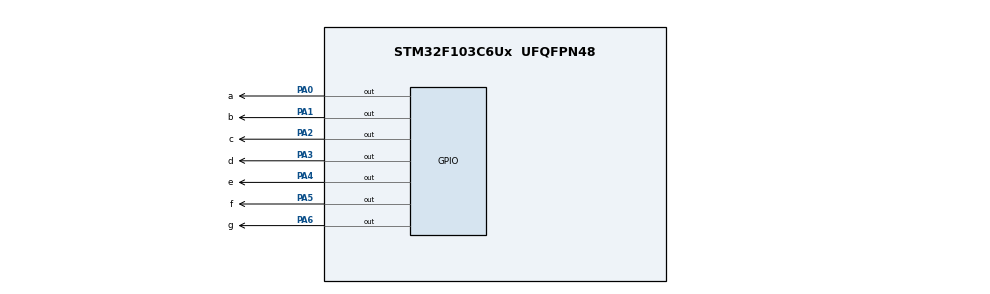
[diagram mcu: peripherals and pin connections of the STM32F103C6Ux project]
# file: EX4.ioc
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Mcu.Family=STM32F1
Mcu.Name=STM32F103C6Ux
Mcu.Package=UFQFPN48
NVIC.PriorityGroup=NVIC_PRIORITYGROUP_4
PA0-WKUP.GPIO_Label=a
PA0-WKUP.Signal=GPIO_Output
PA1.GPIO_Label=b
PA1.Signal=GPIO_Output
PA2.GPIO_Label=c
PA2.Signal=GPIO_Output
PA3.GPIO_Label=d
PA3.Signal=GPIO_Output
PA4.GPIO_Label=e
PA4.Signal=GPIO_Output
PA5.GPIO_Label=f
PA5.Signal=GPIO_Output
PA6.GPIO_Label=g
PA6.Signal=GPIO_Output
ProjectManager.HeapSize=0x200
ProjectManager.StackSize=0x400
ProjectManager.TargetToolchain=STM32CubeIDE
RCC.APB1Freq_Value=8000000
RCC.APB2Freq_Value=8000000
VP_SYS_VS_ND.Mode=No_Debug
board=custom

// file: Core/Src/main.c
/* USER CODE BEGIN Header */
/**
  ******************************************************************************
  * @file           : main.c
  * @brief          : Main program body
  ******************************************************************************
  * @attention
  *
  * <h2><center>&copy; Copyright (c) 2022 STMicroelectronics.
  * All rights reserved.</center></h2>
  *
  * This software component is licensed by ST under BSD 3-Clause license,
  * the "License"; You may not use this file except in compliance with the
  * License. You may obtain a copy of the License at:
  *                        opensource.org/licenses/BSD-3-Clause
  *
  ******************************************************************************
  */
/* USER CODE END Header */
#include "main.h"

void SystemClock_Config(void);
static void MX_GPIO_Init(void);

/* USER CODE BEGIN 0 */
void display7SEG(int num){
	HAL_GPIO_WritePin (GPIOA,a_Pin|b_Pin|c_Pin|d_Pin|e_Pin|f_Pin|g_Pin, GPIO_PIN_SET ) ;
	switch(num){
	case 0:
		HAL_GPIO_TogglePin (GPIOA,a_Pin|b_Pin|c_Pin|d_Pin|e_Pin|f_Pin) ;
		break;
	case 1:
		HAL_GPIO_TogglePin (GPIOA ,b_Pin|c_Pin ) ;
		break;
	case 2:
		HAL_GPIO_TogglePin (GPIOA,a_Pin|b_Pin|g_Pin|d_Pin|e_Pin) ;
		break;
	case 3:
		HAL_GPIO_TogglePin (GPIOA,a_Pin|b_Pin|g_Pin|c_Pin|d_Pin) ;
		break;
	case 4:
		HAL_GPIO_TogglePin (GPIOA,f_Pin|g_Pin|b_Pin|c_Pin) ;
		break;
	case 5:
		HAL_GPIO_TogglePin (GPIOA,a_Pin|f_Pin|g_Pin|c_Pin|d_Pin) ;
		break;
	case 6 :
		HAL_GPIO_TogglePin (GPIOA,a_Pin|f_Pin|g_Pin|e_Pin|c_Pin|d_Pin) ;
		break;
	case 7 :
		HAL_GPIO_TogglePin (GPIOA ,a_Pin|b_Pin|c_Pin ) ;
		break;
	case 8:
		HAL_GPIO_TogglePin (GPIOA,a_Pin|b_Pin|c_Pin|d_Pin|e_Pin|f_Pin|g_Pin) ;
		break;
	case 9:
		HAL_GPIO_TogglePin (GPIOA,a_Pin|b_Pin|c_Pin|d_Pin|f_Pin|g_Pin) ;
		break;
	}
	return;
}
/* USER CODE END 0 */

int main(void)
{

  /* MCU Configuration--------------------------------------------------------*/

  /* Reset of all peripherals, Initializes the Flash interface and the Systick. */
  HAL_Init();

  /* Configure the system clock */
  SystemClock_Config();

  /* Initialize all configured peripherals */
  MX_GPIO_Init();

  /* Infinite loop */
  /* USER CODE BEGIN WHILE */
  int counter = 0;
  while (1)
  {
    /* USER CODE END WHILE */

    /* USER CODE BEGIN 3 */
	  if(counter >= 10) counter = 0;
	  display7SEG(counter++) ;
	  HAL_Delay(1000);
  }
  /* USER CODE END 3 */
}

void SystemClock_Config(void)
{
  RCC_OscInitTypeDef RCC_OscInitStruct = {0};
  RCC_ClkInitTypeDef RCC_ClkInitStruct = {0};

  /** Initializes the RCC Oscillators according to the specified parameters
  * in the RCC_OscInitTypeDef structure.
  */
  RCC_OscInitStruct.OscillatorType = RCC_OSCILLATORTYPE_HSI;
  RCC_OscInitStruct.HSIState = RCC_HSI_ON;
  RCC_OscInitStruct.HSICalibrationValue = RCC_HSICALIBRATION_DEFAULT;
  RCC_OscInitStruct.PLL.PLLState = RCC_PLL_NONE;
  if (HAL_RCC_OscConfig(&RCC_OscInitStruct) != HAL_OK)
  {
    Error_Handler();
  }
  /** Initializes the CPU, AHB and APB buses clocks
  */
  RCC_ClkInitStruct.ClockType = RCC_CLOCKTYPE_HCLK|RCC_CLOCKTYPE_SYSCLK
                              |RCC_CLOCKTYPE_PCLK1|RCC_CLOCKTYPE_PCLK2;
  RCC_ClkInitStruct.SYSCLKSource = RCC_SYSCLKSOURCE_HSI;
  RCC_ClkInitStruct.AHBCLKDivider = RCC_SYSCLK_DIV1;
  RCC_ClkInitStruct.APB1CLKDivider = RCC_HCLK_DIV1;
  RCC_ClkInitStruct.APB2CLKDivider = RCC_HCLK_DIV1;

  if (HAL_RCC_ClockConfig(&RCC_ClkInitStruct, FLASH_LATENCY_0) != HAL_OK)
  {
    Error_Handler();
  }
}

static void MX_GPIO_Init(void)
{
  GPIO_InitTypeDef GPIO_InitStruct = {0};

  /* GPIO Ports Clock Enable */
  __HAL_RCC_GPIOA_CLK_ENABLE();

  /*Configure GPIO pin Output Level */
  HAL_GPIO_WritePin(GPIOA, a_Pin|b_Pin|c_Pin|d_Pin
                          |e_Pin|f_Pin|g_Pin, GPIO_PIN_RESET);

  /*Configure GPIO pins : a_Pin b_Pin c_Pin d_Pin
                           e_Pin f_Pin g_Pin */
  GPIO_InitStruct.Pin = a_Pin|b_Pin|c_Pin|d_Pin
                          |e_Pin|f_Pin|g_Pin;
  GPIO_InitStruct.Mode = GPIO_MODE_OUTPUT_PP;
  GPIO_InitStruct.Pull = GPIO_NOPULL;
  GPIO_InitStruct.Speed = GPIO_SPEED_FREQ_LOW;
  HAL_GPIO_Init(GPIOA, &GPIO_InitStruct);

}

void Error_Handler(void)
{
  __disable_irq();
  while (1)
  {
  }
}

/************************ (C) COPYRIGHT STMicroelectronics *****END OF FILE****/
